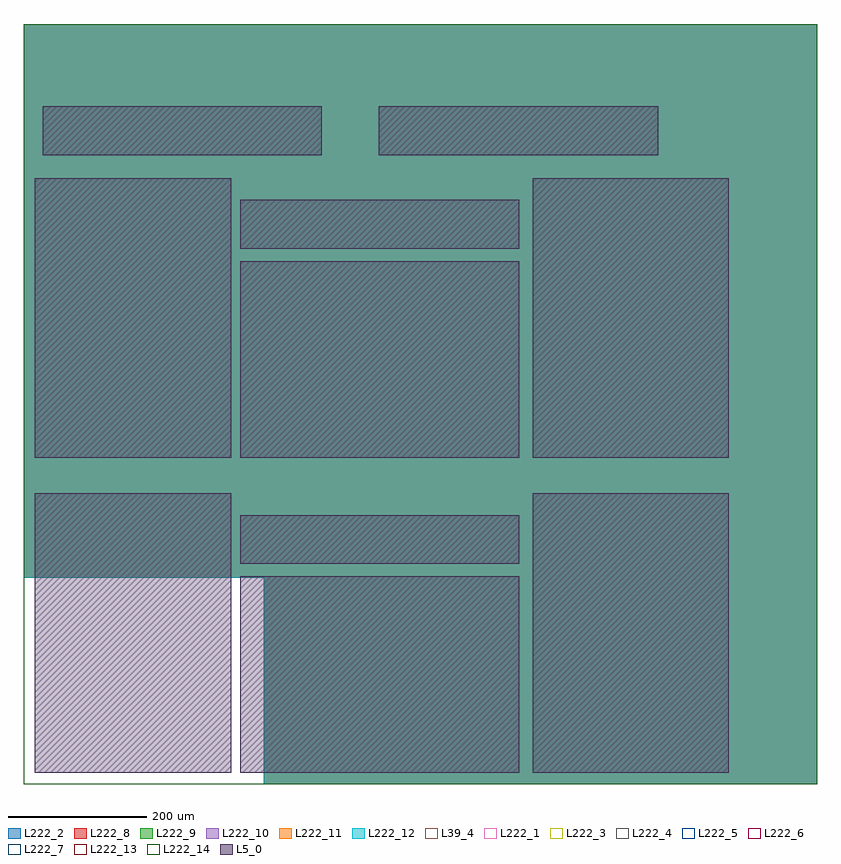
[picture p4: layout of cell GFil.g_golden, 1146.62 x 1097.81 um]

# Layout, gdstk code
import gdstk
lib = gdstk.Library(unit=1e-6, precision=1e-09)
def R(c, l, rs):  # rectangles x0, y0, x1, y1
    for r in rs: c.add(gdstk.rectangle(r[:2], r[2:], *l))
def A(c, l, x, y, w, h, nx, ny, dx, dy):  # array of equal rectangles
    R(c, l, [(x+i*dx, y+j*dy, x+i*dx+w, y+j*dy+h) for i in range(nx) for j in range(ny)])
L5_0 = (5, 0)
L39_4 = (39, 4)
L222_1 = (222, 1)
L222_2 = (222, 2)
L222_3 = (222, 3)
L222_4 = (222, 4)
L222_5 = (222, 5)
L222_6 = (222, 6)
L222_7 = (222, 7)
L222_8 = (222, 8)
L222_9 = (222, 9)
L222_10 = (222, 10)
L222_11 = (222, 11)
L222_12 = (222, 12)
L222_13 = (222, 13)
L222_14 = (222, 14)

gfil_g_golden = lib.new_cell('GFil.g_golden')
A(gfil_g_golden, L5_0, 16.21, 16.21, 35, 50, 8, 8, 35.5, 50.5)
A(gfil_g_golden, L5_0, 735.11, 16.21, 35, 50, 8, 8, 35.5, 50.5)
A(gfil_g_golden, L5_0, 312.79, 16.24, 50, 35, 8, 8, 50.5, 35.5)
A(gfil_g_golden, L5_0, 312.79, 317.83, 50, 35, 8, 2, 50.5, 35.5)
A(gfil_g_golden, L5_0, 16.21, 471.52, 35, 50, 8, 8, 35.5, 50.5)
A(gfil_g_golden, L5_0, 735.11, 471.52, 35, 50, 8, 8, 35.5, 50.5)
A(gfil_g_golden, L5_0, 312.79, 471.55, 50, 35, 8, 8, 50.5, 35.5)
A(gfil_g_golden, L5_0, 312.79, 773.14, 50, 35, 8, 2, 50.5, 35.5)
A(gfil_g_golden, L5_0, 27.41, 908.21, 50, 35, 8, 2, 50.5, 35.5)
A(gfil_g_golden, L5_0, 513.21, 908.21, 50, 35, 8, 2, 50.5, 35.5)
R(gfil_g_golden, L39_4, [(0,0,1146.62,1097.81)])
R(gfil_g_golden, L222_1, [(0,0,1146.62,1097.81)])
R(gfil_g_golden, L222_2, [(346.62,0,1146.62,800), (0,297.81,800,1097.81), (346.62,297.81,1146.62,1097.81)])
R(gfil_g_golden, L222_3, [(0,0,1146.62,1097.81)])
R(gfil_g_golden, L222_4, [(0,0,1146.62,1097.81)])
R(gfil_g_golden, L222_5, [(0,0,1146.62,1097.81)])
R(gfil_g_golden, L222_6, [(0,0,1146.62,1097.81)])
R(gfil_g_golden, L222_7, [(0,0,1146.62,1097.81)])
R(gfil_g_golden, L222_8, [(346.62,0,1146.62,800), (0,297.81,800,1097.81), (346.62,297.81,1146.62,1097.81)])
R(gfil_g_golden, L222_9, [(346.62,0,1146.62,800), (0,297.81,800,1097.81), (346.62,297.81,1146.62,1097.81)])
R(gfil_g_golden, L222_10, [(346.62,0,1146.62,800), (0,297.81,800,1097.81), (346.62,297.81,1146.62,1097.81)])
R(gfil_g_golden, L222_11, [(346.62,0,1146.62,800), (0,297.81,800,1097.81), (346.62,297.81,1146.62,1097.81)])
R(gfil_g_golden, L222_12, [(346.62,0,1146.62,800), (0,297.81,800,1097.81), (346.62,297.81,1146.62,1097.81)])
R(gfil_g_golden, L222_13, [(0,0,1146.62,1097.81)])
R(gfil_g_golden, L222_14, [(0,0,1146.62,1097.81)])

lib.write_gds('GFil.g_golden.gds')
